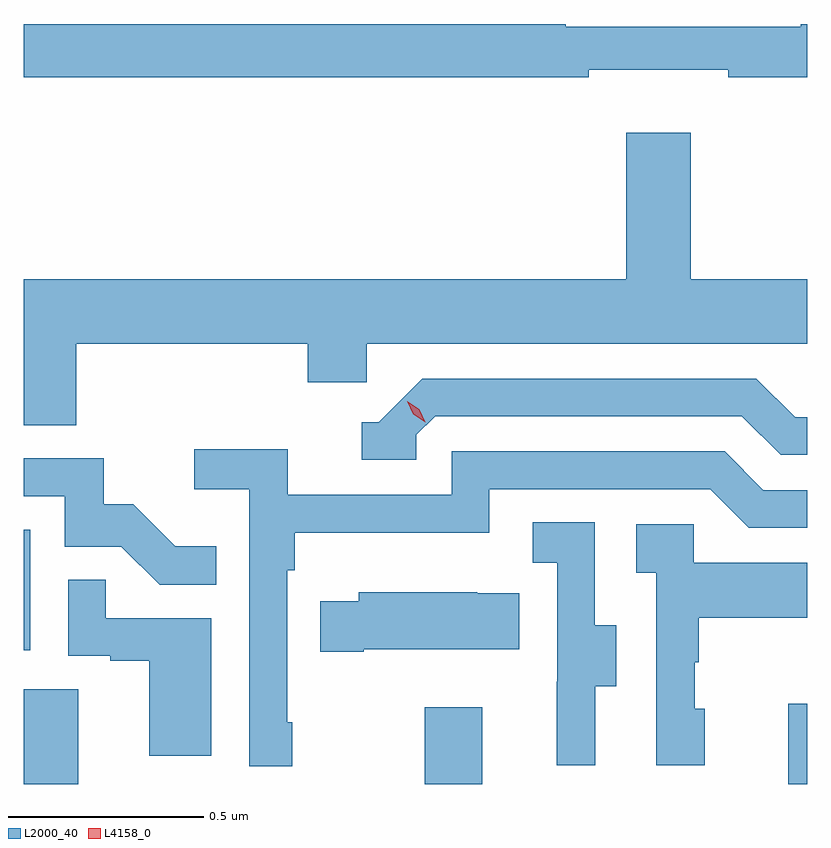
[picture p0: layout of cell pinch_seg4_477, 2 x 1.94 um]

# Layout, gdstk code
import gdstk
lib = gdstk.Library(unit=1e-6, precision=1e-09)
def R(c, l, rs):  # rectangles x0, y0, x1, y1
    for r in rs: c.add(gdstk.rectangle(r[:2], r[2:], *l))
def P(c, l, *ps):  # polygons
    for p in ps: c.add(gdstk.Polygon(p, *l))
L2000_40 = (2000, 40)
L4158_0 = (4158, 0)

pinch_seg4_477 = lib.new_cell('pinch_seg4_477')
R(pinch_seg4_477, L2000_40, [(930.702,761.064,930.841,761.306), (931.726,761.064,931.873,761.26), (932.654,761.064,932.702,761.269), (930.702,761.406,930.718,761.713)])
P(pinch_seg4_477, L2000_40, [(932.144,762.887),(932.5,762.887),(932.5,762.868),(932.702,762.868),(932.702,763.004),(932.686,763.004),(932.686,762.997),(932.086,762.997),(932.086,763.004),(930.702,763.004),(930.702,762.868),(932.144,762.868)],
  [(930.836,762.188),(931.427,762.188),(931.427,762.09),(931.578,762.09),(931.578,762.188),(932.702,762.188),(932.702,762.352),(932.404,762.352),(932.404,762.727),(932.24,762.727),(932.24,762.352),(930.702,762.352),(930.702,761.98),(930.836,761.98)],
  [(931.704,761.955),(931.752,762.003),(932.535,762.003),(932.634,761.904),(932.702,761.904),(932.702,762),(932.671,762),(932.572,762.099),(931.719,762.099),(931.608,761.988),(931.565,761.988),(931.565,761.892),(931.704,761.892)],
  [(931.387,761.221),(931.374,761.221),(931.374,761.609),(931.394,761.609),(931.394,761.705),(931.89,761.705),(931.89,761.817),(932.454,761.817),(932.553,761.718),(932.702,761.718),(932.702,761.814),(932.59,761.814),(932.491,761.913),(931.794,761.913),(931.794,761.802),(931.376,761.802),(931.376,761.918),(931.137,761.918),(931.137,761.816),(931.278,761.816),(931.278,761.109),(931.387,761.109)],
  [(931.193,761.671),(931.089,761.671),(930.982,761.778),(930.906,761.778),(930.906,761.895),(930.702,761.895),(930.702,761.799),(930.807,761.799),(930.807,761.67),(930.951,761.67),(931.049,761.572),(931.193,761.572)],
  [(932.161,761.314),(932.215,761.314),(932.215,761.469),(932.16,761.469),(932.16,761.732),(932.001,761.732),(932.001,761.629),(932.064,761.629),(932.064,761.325),(932.063,761.325),(932.063,761.112),(932.161,761.112)],
  [(932.44,761.256),(932.415,761.256),(932.415,761.375),(932.425,761.375),(932.425,761.489),(932.702,761.489),(932.702,761.629),(932.412,761.629),(932.412,761.727),(932.265,761.727),(932.265,761.603),(932.316,761.603),(932.316,761.112),(932.44,761.112)],
  [(931.18,761.487),(930.911,761.487),(930.911,761.585),(930.816,761.585),(930.816,761.391),(930.923,761.391),(930.923,761.379),(931.022,761.379),(931.022,761.136),(931.18,761.136)],
  [(931.57,761.408),(931.967,761.408),(931.967,761.551),(931.859,761.551),(931.859,761.554),(931.557,761.554),(931.557,761.53),(931.459,761.53),(931.459,761.401),(931.57,761.401)])
P(pinch_seg4_477, L4158_0, [(931.727,761.988),(931.696,762.008),(931.681,762.041),(931.681,762.041),(931.681,762.041),(931.711,762.021),(931.727,761.988),(931.727,761.988)])

lib.write_gds('pinch_seg4_477.gds')
